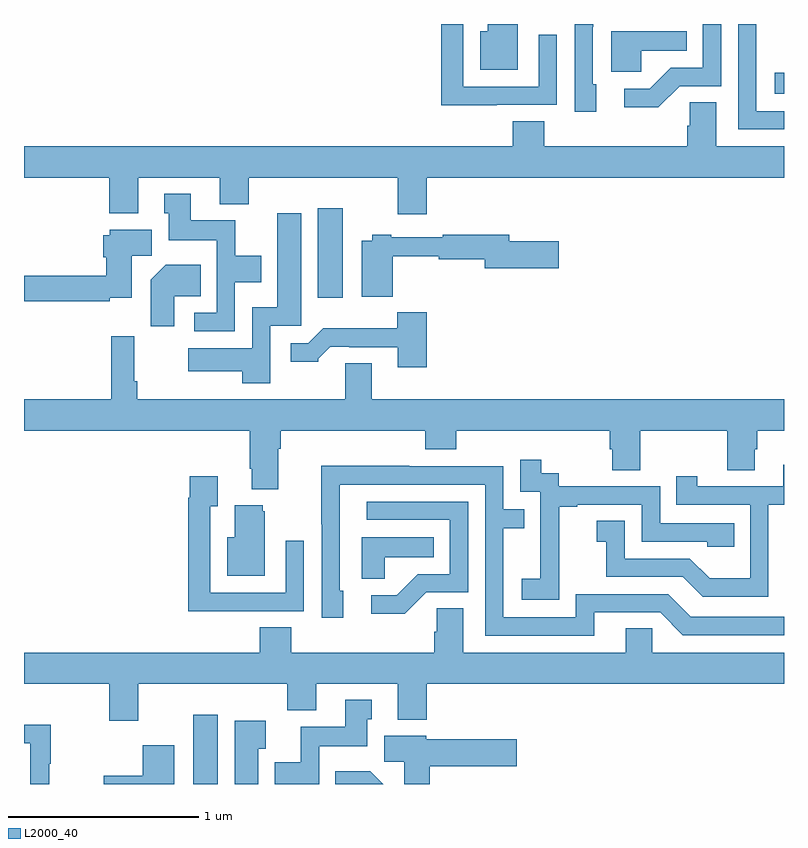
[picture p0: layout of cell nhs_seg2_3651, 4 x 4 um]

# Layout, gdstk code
import gdstk
lib = gdstk.Library(unit=1e-6, precision=1e-09)
def R(c, l, rs):  # rectangles x0, y0, x1, y1
    for r in rs: c.add(gdstk.rectangle(r[:2], r[2:], *l))
def P(c, l, *ps):  # polygons
    for p in ps: c.add(gdstk.Polygon(p, *l))
L2000_40 = (2000, 40)

nhs_seg2_3651 = lib.new_cell('nhs_seg2_3651')
R(nhs_seg2_3651, L2000_40, [(303.89,621.8,304.021,622.165), (304.547,624.36,304.678,624.829), (306.951,625.433,307,625.543)])
P(nhs_seg2_3651, L2000_40, [(307,625.341),(306.855,625.341),(306.855,625.8),(306.759,625.8),(306.759,625.245),(307,625.245)],
  [(305.489,625.374),(305.805,625.374),(305.805,625.744),(305.709,625.744),(305.709,625.47),(305.313,625.47),(305.313,625.8),(305.197,625.8),(305.197,625.373),(305.489,625.373)],
  [(305.599,625.8),(305.441,625.8),(305.441,625.762),(305.402,625.762),(305.402,625.559),(305.599,625.559)],
  [(306.45,625.473),(306.669,625.473),(306.669,625.8),(306.573,625.8),(306.573,625.569),(306.404,625.569),(306.293,625.458),(306.159,625.458),(306.159,625.361),(306.337,625.361)],
  [(306.013,625.482),(305.994,625.482),(305.994,625.786),(305.995,625.786),(305.995,625.8),(305.898,625.8),(305.898,625.338),(306.013,625.338)],
  [(306.249,625.658),(306.488,625.658),(306.488,625.762),(306.092,625.762),(306.092,625.55),(306.249,625.55)],
  [(305.12,624.992),(307,624.992),(307,625.156),(306.643,625.156),(306.643,625.388),(306.504,625.388),(306.504,625.265),(306.491,625.265),(306.491,625.156),(305.738,625.156),(305.738,625.289),(305.573,625.289),(305.573,625.156),(303,625.156),(303,624.992),(303.449,624.992),(303.449,624.803),(303.601,624.803),(303.601,624.992),(304.031,624.992),(304.031,624.851),(304.184,624.851),(304.184,624.992),(304.967,624.992),(304.967,624.798),(305.12,624.798)],
  [(304.11,624.44),(304.249,624.44),(304.249,624.58),(304.113,624.58),(304.113,624.766),(303.877,624.766),(303.877,624.907),(303.737,624.907),(303.737,624.804),(303.761,624.804),(303.761,624.662),(304.014,624.662),(304.014,624.279),(303.897,624.279),(303.897,624.183),(304.11,624.183)],
  [(304.296,624.213),(304.459,624.213),(304.459,624.805),(304.334,624.805),(304.334,624.31),(304.2,624.31),(304.2,624.094),(303.864,624.094),(303.864,623.972),(304.148,623.972),(304.148,623.91),(304.296,623.91)],
  [(303.452,624.359),(303.568,624.359),(303.568,624.58),(303.673,624.58),(303.673,624.718),(303.45,624.718),(303.45,624.687),(303.416,624.687),(303.416,624.573),(303.434,624.573),(303.434,624.476),(303,624.476),(303,624.34),(303.452,624.34)],
  [(304.94,624.577),(305.184,624.577),(305.184,624.562),(305.426,624.562),(305.426,624.515),(305.815,624.515),(305.815,624.657),(305.554,624.657),(305.554,624.691),(305.203,624.691),(305.203,624.678),(304.933,624.678),(304.933,624.691),(304.833,624.691),(304.833,624.658),(304.778,624.658),(304.778,624.365),(304.94,624.365)],
  [(303.79,624.368),(303.929,624.368),(303.929,624.532),(303.746,624.532),(303.668,624.454),(303.668,624.21),(303.79,624.21)],
  [(305.12,624.283),(304.965,624.283),(304.965,624.199),(304.576,624.199),(304.497,624.12),(304.404,624.12),(304.404,624.023),(304.548,624.023),(304.548,624.038),(304.612,624.102),(304.711,624.102),(304.711,624.099),(304.967,624.099),(304.967,623.994),(305.12,623.994)],
  [(304.339,623.564),(304.352,623.564),(304.352,623.66),(305.111,623.66),(305.111,623.561),(305.276,623.561),(305.276,623.66),(306.083,623.66),(306.083,623.562),(306.095,623.562),(306.095,623.452),(306.243,623.452),(306.243,623.66),(306.7,623.66),(306.7,623.452),(306.847,623.452),(306.847,623.562),(306.86,623.562),(306.86,623.66),(307,623.66),(307,623.824),(304.831,623.824),(304.831,624.014),(304.691,624.014),(304.691,623.824),(303.596,623.824),(303.596,623.92),(303.581,623.92),(303.581,624.157),(303.46,624.157),(303.46,623.824),(303,623.824),(303,623.66),(304.187,623.66),(304.187,623.458),(304.199,623.458),(304.199,623.351),(304.339,623.351)],
  [(305.817,622.975),(305.816,622.975),(305.816,623.259),(305.911,623.259),(305.911,623.271),(306.252,623.271),(306.252,623.076),(306.597,623.076),(306.597,623.049),(306.737,623.049),(306.737,623.172),(306.348,623.172),(306.348,623.367),(305.814,623.367),(305.814,623.436),(305.722,623.436),(305.722,623.506),(305.613,623.506),(305.613,623.337),(305.718,623.337),(305.718,623.108),(305.717,623.108),(305.717,622.879),(305.619,622.879),(305.619,622.769),(305.817,622.769)],
  [(306.918,623.271),(307,623.271),(307,623.479),(306.995,623.479),(306.995,623.367),(306.544,623.367),(306.544,623.419),(306.433,623.419),(306.433,623.271),(306.822,623.271),(306.822,622.882),(306.608,622.882),(306.504,622.986),(306.162,622.986),(306.162,623.185),(306.015,623.185),(306.015,623.075),(306.064,623.075),(306.064,622.89),(306.467,622.89),(306.572,622.785),(306.918,622.785)],
  [(306.001,622.704),(306.348,622.704),(306.468,622.584),(307,622.584),(307,622.68),(306.51,622.68),(306.39,622.8),(305.904,622.8),(305.904,622.677),(305.523,622.677),(305.523,623.146),(305.633,623.146),(305.633,623.247),(305.523,623.247),(305.523,623.472),(305.027,623.472),(305.027,623.474),(304.564,623.474),(304.564,623.167),(304.566,623.167),(304.566,622.674),(304.681,622.674),(304.681,622.818),(304.662,622.818),(304.662,623.376),(305.427,623.376),(305.427,622.581),(306.001,622.581)],
  [(304.157,622.71),(304.473,622.71),(304.473,623.08),(304.377,623.08),(304.377,622.806),(303.981,622.806),(303.981,623.263),(304.021,623.263),(304.021,623.419),(303.873,623.419),(303.873,623.306),(303.865,623.306),(303.865,622.709),(304.157,622.709)],
  [(305.118,622.809),(305.337,622.809),(305.337,623.286),(304.803,623.286),(304.803,623.19),(305.241,623.19),(305.241,622.905),(305.072,622.905),(304.961,622.794),(304.827,622.794),(304.827,622.697),(305.005,622.697)],
  [(304.267,623.235),(304.256,623.235),(304.256,623.266),(304.109,623.266),(304.109,623.098),(304.07,623.098),(304.07,622.895),(304.267,622.895)],
  [(304.899,622.994),(305.156,622.994),(305.156,623.098),(304.778,623.098),(304.778,622.879),(304.899,622.879)],
  [(303,622.328),(303.449,622.328),(303.449,622.134),(303.601,622.134),(303.601,622.328),(304.385,622.328),(304.385,622.187),(304.537,622.187),(304.537,622.328),(304.967,622.328),(304.967,622.139),(305.12,622.139),(305.12,622.328),(307,622.328),(307,622.492),(306.306,622.492),(306.306,622.619),(306.167,622.619),(306.167,622.492),(305.311,622.492),(305.311,622.724),(305.172,622.724),(305.172,622.601),(305.159,622.601),(305.159,622.492),(304.406,622.492),(304.406,622.625),(304.241,622.625),(304.241,622.492),(303,622.492)],
  [(304.554,621.998),(304.807,621.998),(304.807,622.14),(304.831,622.14),(304.831,622.243),(304.691,622.243),(304.691,622.102),(304.457,622.102),(304.457,621.915),(304.319,621.915),(304.319,621.8),(304.554,621.8)],
  [(304.234,621.986),(304.273,621.986),(304.273,622.132),(304.109,622.132),(304.109,621.8),(304.234,621.8)],
  [(303.134,621.907),(303.142,621.907),(303.142,622.112),(303,622.112),(303,622.014),(303.033,622.014),(303.033,621.8),(303.134,621.8)],
  [(305.135,621.893),(305.593,621.893),(305.593,622.035),(305.118,622.035),(305.118,622.054),(304.895,622.054),(304.895,621.916),(305,621.916),(305,621.8),(305.135,621.8)],
  [(303.79,622.003),(303.626,622.003),(303.626,621.844),(303.42,621.844),(303.42,621.8),(303.79,621.8)],
  [(304.822,621.868),(304.639,621.868),(304.639,621.8),(304.89,621.8)])

lib.write_gds('nhs_seg2_3651.gds')
